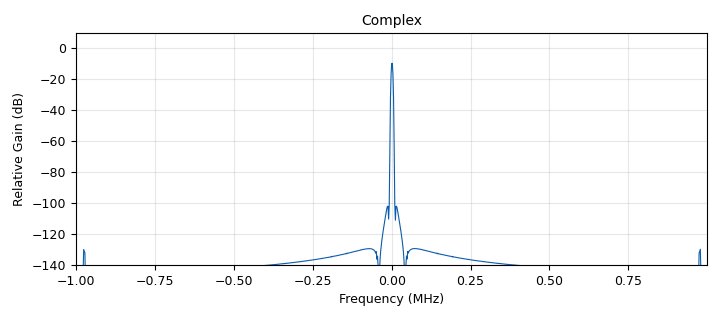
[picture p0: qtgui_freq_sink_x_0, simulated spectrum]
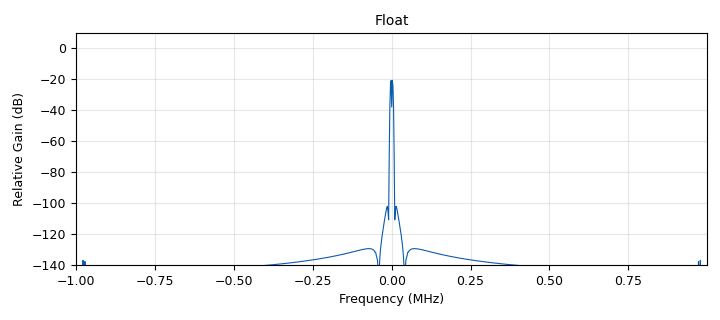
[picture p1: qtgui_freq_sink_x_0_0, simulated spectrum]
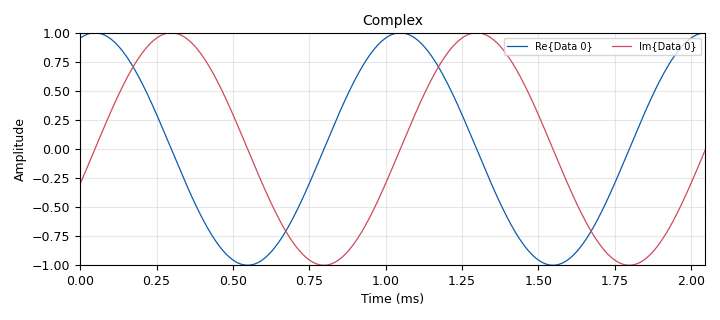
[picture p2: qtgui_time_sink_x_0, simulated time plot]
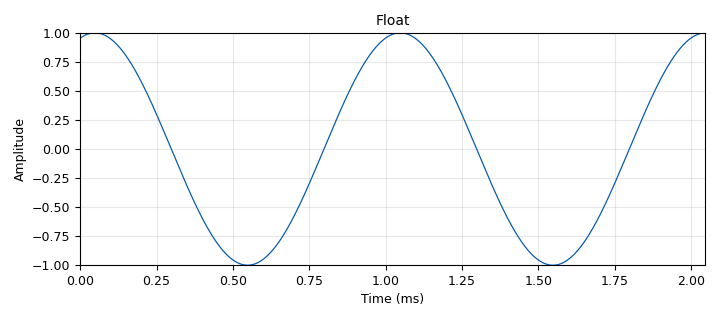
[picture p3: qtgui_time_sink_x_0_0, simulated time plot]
options:
  parameters:
    generate_options: qt_gui
    id: default
    output_language: python
    title: Not titled yet
  states: {}

blocks:
- name: samp_rate
  id: variable
  parameters:
    value: 2e6
  states: {}
- name: analog_sig_source_x_0
  id: analog_sig_source_x
  parameters:
    amp: '1'
    freq: 1e3
    offset: '0'
    phase: '0'
    samp_rate: samp_rate
    type: complex
    waveform: analog.GR_COS_WAVE
  states: {}
- name: analog_sig_source_x_0_0
  id: analog_sig_source_x
  parameters:
    amp: '1'
    freq: 1e3
    offset: '0'
    phase: '0'
    samp_rate: samp_rate
    type: float
    waveform: analog.GR_COS_WAVE
  states: {}
- name: blocks_throttle2_0
  id: blocks_throttle2
  parameters:
    samples_per_second: samp_rate
    type: complex
  states: {}
- name: blocks_throttle2_0_0
  id: blocks_throttle2
  parameters:
    samples_per_second: samp_rate
    type: float
  states: {}
- name: qtgui_freq_sink_x_0
  id: qtgui_freq_sink_x
  parameters:
    bw: samp_rate
    fc: '0'
    fftsize: '1024'
    name: Complex
    type: complex
  states: {}
- name: qtgui_freq_sink_x_0_0
  id: qtgui_freq_sink_x
  parameters:
    bw: samp_rate
    fc: '0'
    fftsize: '1024'
    name: Float
    type: float
  states: {}
- name: qtgui_time_sink_x_0
  id: qtgui_time_sink_x
  parameters:
    name: Complex
    size: '4096'
    srate: samp_rate
    type: complex
  states: {}
- name: qtgui_time_sink_x_0_0
  id: qtgui_time_sink_x
  parameters:
    name: Float
    size: '4096'
    srate: samp_rate
    type: float
  states: {}

connections:
- [analog_sig_source_x_0, '0', blocks_throttle2_0, '0']
- [analog_sig_source_x_0_0, '0', blocks_throttle2_0_0, '0']
- [blocks_throttle2_0, '0', qtgui_freq_sink_x_0, '0']
- [blocks_throttle2_0, '0', qtgui_time_sink_x_0, '0']
- [blocks_throttle2_0_0, '0', qtgui_freq_sink_x_0_0, '0']
- [blocks_throttle2_0_0, '0', qtgui_time_sink_x_0_0, '0']

metadata:
  file_format: 1
  grc_version: 3.10.12.0
